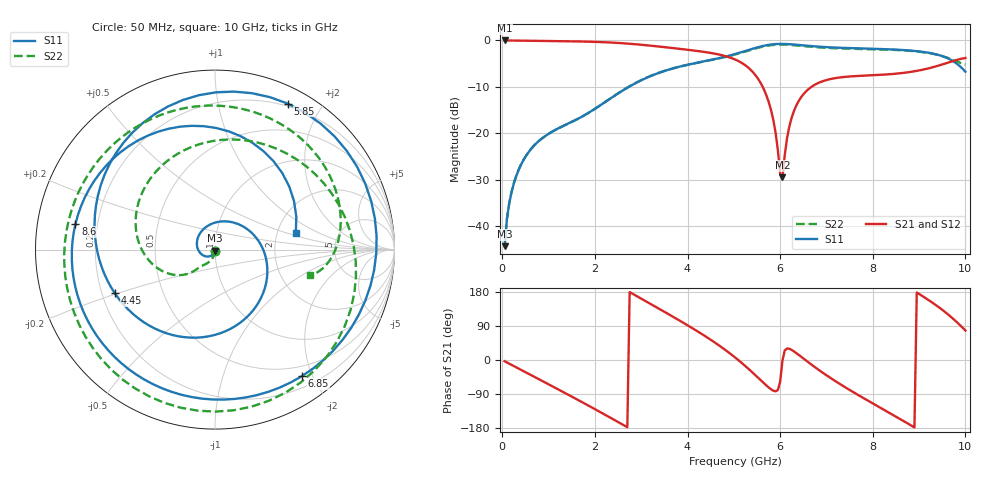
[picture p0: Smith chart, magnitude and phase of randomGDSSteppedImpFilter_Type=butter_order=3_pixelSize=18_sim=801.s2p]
! freq	dB(S11)	phase(S11)	dB(S12)	phase(S12)
!  dB(S21)	phase(S21)	dB(S22)	phase(S22)
!S-par simulation data
#  GHz  S  DB  R 50
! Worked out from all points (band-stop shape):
!   200 points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, 50 MHz to 10 GHz, reference 50 ohm
!   highest |S21| = -0.01 dB at 50 MHz (marker M1); lowest = -29.5 dB at 6.05 GHz (marker M2)
!   |S21| within 3 dB of the highest: start of sweep to 4.662 GHz
!   lowest |S11| = -44.4 dB at 50 MHz (marker M3), VSWR 1.01, Z = 50 - j0.602 ohm
!   |S11| at or under -10 dB: start of sweep to 2.734 GHz
!   |S22| runs from -44.3 to -0.9 dB; largest |S21 - S12| = 0
!   S11 on the Smith chart (normalised r, x): 50 MHz: 1.00, -0.01; 4.45 GHz: 0.25, -0.20; 5.85 GHz: 0.17, +1.60; 6.85 GHz: 0.35, -1.85; 8.6 GHz: 0.12, +0.09; 10 GHz: 2.54, +0.60
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0.05  -44.38 -93.4  -0.01 -3.3  -0.01 -3.3  -44.28 -89.5
0.2  -32.71 -107.3  -0.02 -12.9  -0.02 -12.9  -32.64 -96.8
0.5  -25.09 -136.1  -0.06 -32.1  -0.06 -32.1  -25.07 -108.7
1.15  -19.27 157.7  -0.14 -73.8  -0.14 -73.8  -19.28 -126.7
1.75  -16.27 85.9  -0.24 -113.0  -0.24 -113.0  -16.29 -133.3
2.6  -10.80 -9.8  -0.61 -170.5  -0.61 -170.5  -10.77 -152.4
3.4  -6.93 -79.2  -1.34 134.2  -1.34 134.2  -6.91 166.7
3.95  -5.37 -120.3  -1.95 95.3  -1.95 95.3  -5.37 130.2
4.45  -4.31 -156.5  -2.61 57.5  -2.61 57.5  -4.35 90.6
5.05  -2.87 155.2  -4.21 4.5  -4.21 4.5  -2.97 31.2
5.45  -1.66 114.0  -7.28 -38.4  -7.28 -38.4  -1.79 -17.4
5.85  -0.83 63.5  -17.03 -80.8  -17.03 -80.8  -0.97 -70.4
6.05  -0.75 36.8  -29.50 -1.2  -29.50 -1.2  -0.89 -96.0
6.25  -0.84 11.0  -16.62 26.5  -16.62 26.5  -0.99 -119.7
6.7  -1.25 -40.4  -9.85 -14.4  -9.85 -14.4  -1.40 -165.2
6.85  -1.36 -55.4  -9.06 -27.6  -9.06 -27.6  -1.51 -178.4
7.5  -1.65 -110.9  -7.78 -79.0  -7.78 -79.0  -1.79 130.3
8.35  -1.92 -172.3  -7.30 -138.8  -7.30 -138.8  -1.99 71.0
8.6  -2.04 169.6  -7.07 -156.3  -7.07 -156.3  -2.11 54.7
9.4  -3.08 100.6  -5.49 141.6  -5.49 141.6  -3.11 6.7
9.7  -4.27 63.8  -4.55 112.6  -4.55 112.6  -4.07 -7.7
10  -6.74 11.8  -3.78 77.9  -3.78 77.9  -5.24 -14.9
